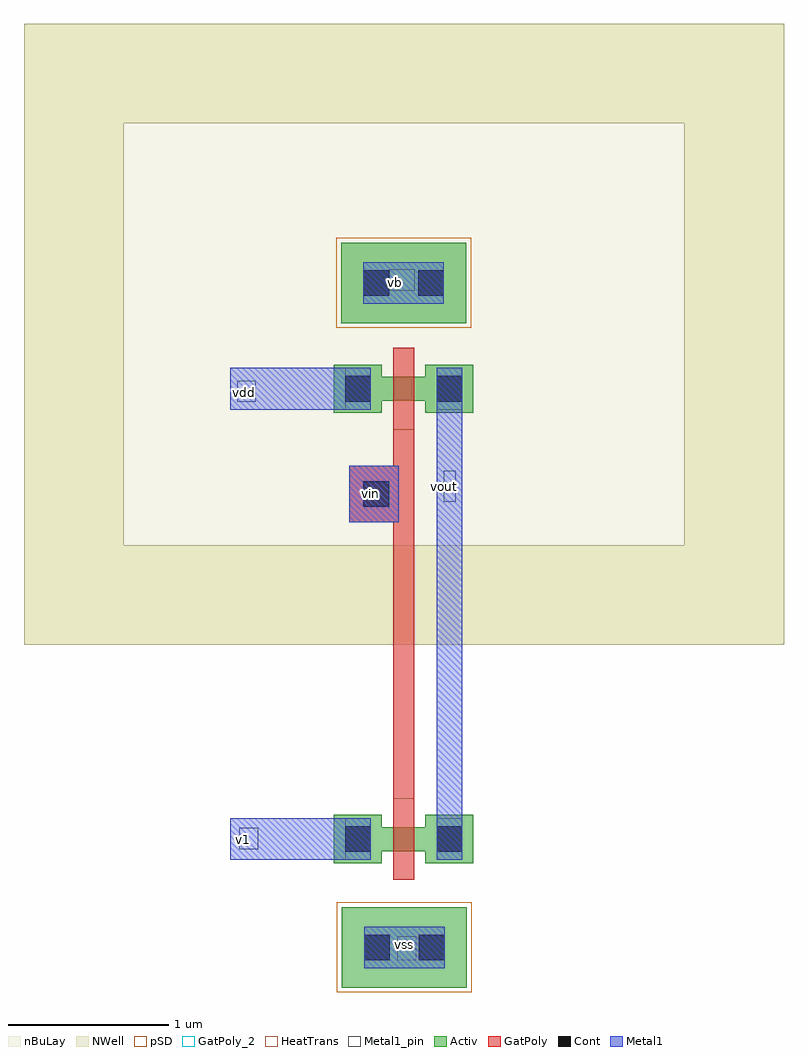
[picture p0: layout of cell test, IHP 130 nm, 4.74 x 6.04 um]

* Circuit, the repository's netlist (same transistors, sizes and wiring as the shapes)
** sch_path: /home/designer/shared/Delta-sigma-adc/xschem/test.sch
.subckt test vin vout vdd vb vss v1
*.PININFO vin:I vout:O vdd:B vb:I vss:B v1:O
M1 vdd vin vout vb sg13_lv_nmos w=0.15u l=0.13u ng=1 m=1
M2 vout vin v1 vss sg13_lv_nmos w=0.15u l=0.13u ng=1 m=1
.ends

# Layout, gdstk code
import gdstk
lib = gdstk.Library(unit=1e-6, precision=1e-09)
def R(c, l, rs):  # rectangles x0, y0, x1, y1
    for r in rs: c.add(gdstk.rectangle(r[:2], r[2:], *l))
Activ = (1, 0)
GatPoly = (5, 0)
GatPoly_2 = (5, 2)
Cont = (6, 0)
Metal1 = (8, 0)
Metal1_pin = (8, 2)
pSD = (14, 0)
NWell = (31, 0)
nBuLay = (32, 0)
HeatTrans = (51, 0)

nmos = lib.new_cell('nmos')
R(nmos, Activ, [(0,0,0.3,0.3), (0.57,0,0.87,0.3), (0,0.075,0.87,0.225)])
R(nmos, GatPoly, [(0.37,-0.105,0.5,0.405)])
R(nmos, GatPoly_2, [(0.37,-0.105,0.5,0.405)])
R(nmos, Cont, [(0.07,0.07,0.23,0.23), (0.64,0.07,0.8,0.23)])
R(nmos, Metal1, [(0.07,0.02,0.23,0.28), (0.64,0.02,0.8,0.28)])
R(nmos, Metal1_pin, [(0.07,0.02,0.23,0.28), (0.64,0.02,0.8,0.28)])
R(nmos, HeatTrans, [(0.37,-0.105,0.5,0.405)])
nmos.add(gdstk.Label('nmos', (0.435,0.15), layer=63, texttype=0))
nmos.add(gdstk.Label('nmos', (0.435,0.15), layer=51, texttype=0))

test = lib.new_cell('test')
R(test, Activ, [(-0.37,-2.075,0.41,-1.575), (-0.375,2.065,0.405,2.565)])
R(test, GatPoly, [(-0.05,-0.94,0.08,0.63), (-0.05,0.57,0.08,1.42), (-0.325,0.825,-0.015,1.175)])
R(test, Cont, [(-0.23,-1.905,-0.07,-1.745), (0.11,-1.905,0.27,-1.745), (-0.235,0.92,-0.075,1.08), (-0.235,2.235,-0.075,2.395), (0.105,2.235,0.265,2.395)])
R(test, Metal1, [(-0.23,-1.955,0.27,-1.695), (-1.065,-1.28,-0.19,-1.02), (0.22,-1.15,0.38,0.43), (0.22,0.42,0.38,1.58), (-0.325,0.825,-0.015,1.175), (-1.065,1.525,-0.19,1.785), (-0.235,2.185,0.265,2.445)])
R(test, Metal1_pin, [(-0.025,-1.905,0.095,-1.755), (-1.01,-1.215,-0.89,-1.08), (0.265,0.95,0.34,1.145), (-1.02,1.575,-0.905,1.705), (-0.075,2.265,0.085,2.4)])
R(test, pSD, [(-0.4,-2.105,0.44,-1.545), (-0.405,2.035,0.435,2.595)])
R(test, NWell, [(-2.35,0.06,2.385,0.68), (-2.35,0.06,-1.73,3.93), (1.765,0.06,2.385,3.93), (-2.35,3.31,2.385,3.93)])
R(test, nBuLay, [(-2.35,0.06,2.385,3.93), (-1.045,1.16,1.04,3.215)])
test.add(gdstk.Reference(nmos, (-0.42,1.505)))
test.add(gdstk.Reference(nmos, (-0.42,-1.3)))
test.add(gdstk.Label('vb', (-0.035,2.32), layer=8, texttype=25))
test.add(gdstk.Label('vdd', (-0.975,1.63), layer=8, texttype=25))
test.add(gdstk.Label('vin', (-0.19,1.005), layer=8, texttype=25))
test.add(gdstk.Label('vout', (0.27,1.045), layer=8, texttype=25))
test.add(gdstk.Label('vss', (0.02,-1.81), layer=8, texttype=25))
test.add(gdstk.Label('v1', (-0.98,-1.155), layer=8, texttype=25))

lib.write_gds('test.gds')
